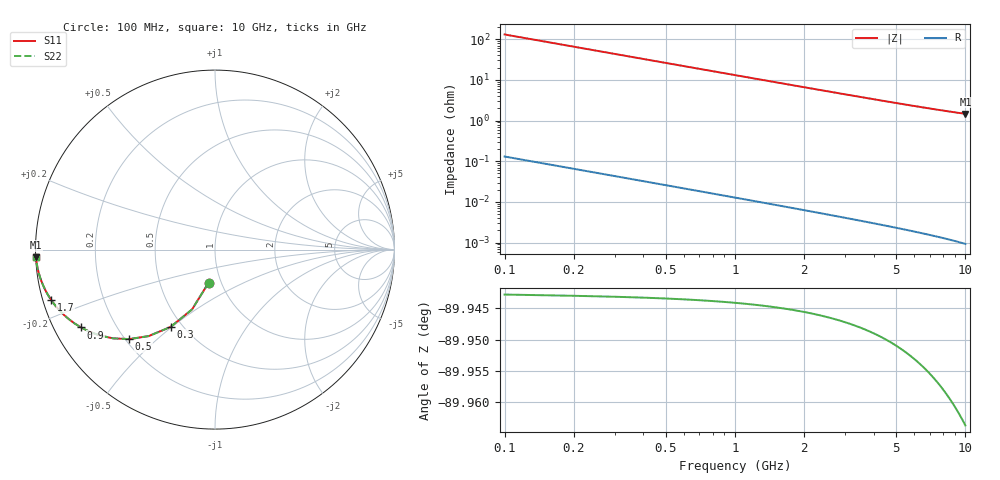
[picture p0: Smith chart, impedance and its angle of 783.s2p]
# Hz S RI R 50.00
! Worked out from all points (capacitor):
!   100 points, 100 MHz to 10 GHz, reference 50 ohm
!   read as one part in shunt: C = 12.2 pF near 100 MHz
!   lowest |Z| = 1.46 ohm at 10 GHz (marker M1)
!   S11 on the Smith chart (normalised r, x): 100 MHz: 0.87, -0.33; 300 MHz: 0.43, -0.49; 500 MHz: 0.22, -0.41; 900 MHz: 0.08, -0.27; 1.7 GHz: 0.02, -0.15; 10 GHz: 0.00, -0.02
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1e8  -0.0354 -0.1844  0.9645 -0.1845  0.9645 -0.1845  -0.0354 -0.1844
2e8  -0.1279 -0.3333  0.8721 -0.3336  0.8721 -0.3336  -0.1279 -0.3333
3e8  -0.2478 -0.431  0.7522 -0.4315  0.7522 -0.4315  -0.2478 -0.431
4e8  -0.3692 -0.4818  0.6308 -0.4824  0.6308 -0.4824  -0.3692 -0.4818
5e8  -0.4775 -0.4986  0.5225 -0.4994  0.5225 -0.4994  -0.4775 -0.4986
6e8  -0.568 -0.4944  0.4319 -0.4953  0.4319 -0.4953  -0.568 -0.4944
7e8  -0.6414 -0.4786  0.3585 -0.4796  0.3585 -0.4796  -0.6414 -0.4786
8e8  -0.7002 -0.4571  0.2998 -0.4583  0.2998 -0.4583  -0.7002 -0.4571
9e8  -0.7471 -0.4335  0.2529 -0.4348  0.2529 -0.4348  -0.7471 -0.4335
1e9  -0.7847 -0.4098  0.2153 -0.4112  0.2153 -0.4112  -0.7847 -0.4098
1.2e9  -0.8398 -0.3654  0.1601 -0.3671  0.1601 -0.3671  -0.8398 -0.3654
1.4e9  -0.877 -0.3269  0.123 -0.3289  0.123 -0.3289  -0.877 -0.3269
1.7e9  -0.913 -0.28  0.0869 -0.2825  0.0869 -0.2825  -0.913 -0.28
1.8e9  -0.9217 -0.2668  0.0783 -0.2695  0.0783 -0.2695  -0.9217 -0.2668
2.1e9  -0.9412 -0.2332  0.0588 -0.2363  0.0588 -0.2363  -0.9412 -0.2332
2.5e9  -0.9577 -0.1988  0.0422 -0.2026  0.0422 -0.2026  -0.9577 -0.1988
3.4e9  -0.9767 -0.1479  0.0233 -0.153  0.0233 -0.153  -0.9767 -0.1479
4.2e9  -0.9846 -0.1194  0.0154 -0.1258  0.0154 -0.1258  -0.9846 -0.1194
5.1e9  -0.9895 -0.0973  0.0104 -0.1051  0.0104 -0.1051  -0.9895 -0.0973
6.7e9  -0.9939 -0.0716  0.00598 -0.082  0.00598 -0.082  -0.9939 -0.0716
8.4e9  -0.9962 -0.0541  0.00371 -0.0673  0.00371 -0.0673  -0.9962 -0.0541
1e10  -0.9973 -0.0424  0.00252 -0.0584  0.00252 -0.0584  -0.9973 -0.0424
